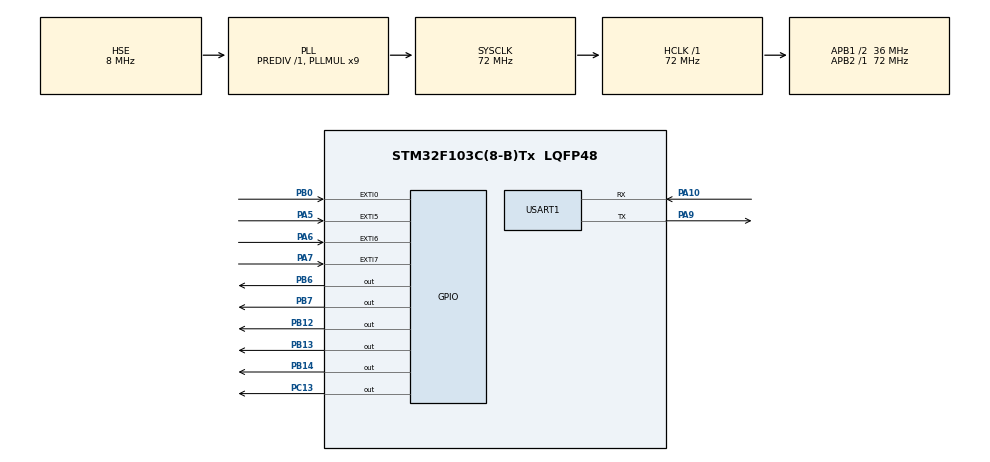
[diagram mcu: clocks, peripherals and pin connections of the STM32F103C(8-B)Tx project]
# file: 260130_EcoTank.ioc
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IWDG.Prescaler=IWDG_PRESCALER_128
IWDG.Reload=2500
Mcu.Family=STM32F1
Mcu.Name=STM32F103C(8-B)Tx
Mcu.Package=LQFP48
NVIC.EXTI0_IRQn=true\:1\:0\:true\:false\:true\:true\:true\:true
NVIC.EXTI9_5_IRQn=true\:2\:0\:true\:false\:true\:true\:true\:true
NVIC.PriorityGroup=NVIC_PRIORITYGROUP_4
NVIC.USART1_IRQn=true\:0\:0\:false\:false\:true\:true\:true\:true
PA10.Mode=Asynchronous
PA10.Signal=USART1_RX
PA13.Mode=Serial_Wire
PA13.Signal=SYS_JTMS-SWDIO
PA14.Mode=Serial_Wire
PA14.Signal=SYS_JTCK-SWCLK
PA5.GPIO_ModeDefaultEXTI=GPIO_MODE_IT_RISING_FALLING
PA5.GPIO_PuPd=GPIO_PULLUP
PA5.Signal=GPXTI5
PA6.GPIO_ModeDefaultEXTI=GPIO_MODE_IT_RISING_FALLING
PA6.GPIO_PuPd=GPIO_PULLUP
PA6.Signal=GPXTI6
PA7.GPIO_ModeDefaultEXTI=GPIO_MODE_IT_RISING_FALLING
PA7.GPIO_PuPd=GPIO_PULLUP
PA7.Signal=GPXTI7
PA9.Mode=Asynchronous
PA9.Signal=USART1_TX
PB0.GPIO_ModeDefaultEXTI=GPIO_MODE_IT_RISING_FALLING
PB0.GPIO_PuPd=GPIO_PULLUP
PB0.Signal=GPXTI0
PB12.GPIO_PuPd=GPIO_PULLDOWN
PB12.Signal=GPIO_Output
PB13.GPIO_PuPd=GPIO_PULLDOWN
PB13.Signal=GPIO_Output
PB14.GPIO_PuPd=GPIO_PULLDOWN
PB14.Signal=GPIO_Output
PB6.GPIO_ModeDefaultOutputPP=GPIO_MODE_OUTPUT_OD
PB6.GPIO_PuPd=GPIO_NOPULL
PB6.GPIO_Speed=GPIO_SPEED_FREQ_HIGH
PB6.PinState=GPIO_PIN_SET
PB6.Signal=GPIO_Output
PB7.GPIO_ModeDefaultOutputPP=GPIO_MODE_OUTPUT_OD
PB7.GPIO_PuPd=GPIO_NOPULL
PB7.GPIO_Speed=GPIO_SPEED_FREQ_HIGH
PB7.PinState=GPIO_PIN_SET
PB7.Signal=GPIO_Output
PC13-TAMPER-RTC.Signal=GPIO_Output
PC14-OSC32_IN.Mode=LSE-External-Clock-Source
PC14-OSC32_IN.Signal=RCC_OSC32_IN
PC15-OSC32_OUT.Mode=LSE-External-Clock-Source
PC15-OSC32_OUT.Signal=RCC_OSC32_OUT
PD0-OSC_IN.Mode=HSE-External-Clock-Source
PD0-OSC_IN.Signal=RCC_OSC_IN
PD1-OSC_OUT.Mode=HSE-External-Clock-Source
PD1-OSC_OUT.Signal=RCC_OSC_OUT
ProjectManager.HeapSize=0x200
ProjectManager.StackSize=0x400
ProjectManager.TargetToolchain=MDK-ARM V5.32
RCC.AHBFreq_Value=72000000
RCC.APB1CLKDivider=RCC_HCLK_DIV2
RCC.APB1Freq_Value=36000000
RCC.APB1TimFreq_Value=72000000
RCC.APB2Freq_Value=72000000
RCC.APB2TimFreq_Value=72000000
RCC.HCLKFreq_Value=72000000
RCC.PLLMUL=RCC_PLL_MUL9
RCC.PLLSourceVirtual=RCC_PLLSOURCE_HSE
RCC.RTCClockSelection=RCC_RTCCLKSOURCE_LSE
RCC.SYSCLKFreq_VALUE=72000000
RCC.SYSCLKSource=RCC_SYSCLKSOURCE_PLLCLK
RCC.USBFreq_Value=72000000
USART1.VirtualMode=VM_ASYNC
VP_IWDG_VS_IWDG.Mode=IWDG_Activate
VP_RTC_No_RTC_Output.Mode=RTC_OUT_NO
VP_RTC_VS_RTC_Activate.Mode=RTC_Enabled
VP_RTC_VS_RTC_Calendar.Mode=RTC_Calendar
board=custom

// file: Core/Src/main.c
/* USER CODE BEGIN Header */
/**
  ******************************************************************************
  * @file           : main.c
  * @brief          : Main program body
  ******************************************************************************
  * @attention
  *
  * Copyright (c) 2026 STMicroelectronics.
  * All rights reserved.
  *
  * This software is licensed under terms that can be found in the LICENSE file
  * in the root directory of this software component.
  * If no LICENSE file comes with this software, it is provided AS-IS.
  *
  ******************************************************************************
  */
/* USER CODE END Header */
#include "main.h"
#include "iwdg.h"
#include "rtc.h"
#include "usart.h"
#include "gpio.h"

/* USER CODE BEGIN Includes */
#include "string.h"
#include "App_USART_Redirect.h"
#include "App_RTC.h"
#include "App_UART_RX_Handler.h"
#include "App_Blink.h"
#include "App_SHT40.h"
#include "App_SYS.h"
/* USER CODE END Includes */

/* USER CODE BEGIN PV */
SHT40_t sht40;
/* USER CODE END PV */

void SystemClock_Config(void);

int main(void)
{

  /* MCU Configuration--------------------------------------------------------*/

  /* Reset of all peripherals, Initializes the Flash interface and the Systick. */
  HAL_Init();

  /* Configure the system clock */
  SystemClock_Config();

  /* Initialize all configured peripherals */
  MX_GPIO_Init();
  MX_RTC_Init();
  MX_USART1_UART_Init();
  MX_IWDG_Init();
  /* USER CODE BEGIN 2 */
  App_UART_RX_Init();  // 初始化串口接收管理器
  App_SYS_Init();      //初始化SYS
  App_RTC_Init();     // 初始化 RTC 交互逻辑
	App_SHT40_Init(&sht40); // 仅传入设备结构体地址，内部将自动通过软件 I2C 通信  App_SYS_Init();                    // 初始化控制系统
  /* USER CODE END 2 */

  /* Infinite loop */
  while (1)
  {

    /* USER CODE BEGIN 3 */

    // PC13：正常模式亮1s灭3s；报错模式闪烁
    App_Blink_Process();

		// 主业务逻辑 (含三级判断、数据采集、设备驱动)
    App_SYS_Loop(&sht40);

    //同步日期进位
    App_RTC_CheckAndSyncBKP();

		// 命令控制
    if (cmd_ready == 1)
    {
        //回显收到的指令，方便调试
        printf("\r\n\r\nCMD: %s\r\n", rx_line);
        // 1. RTC 模块解析接收到的字符串(rx_line) //
        App_RTC_ParseCommand(rx_line);
				// 2. SHT40 模块解析接收到的字符串(rx_line)//
        App_SHT40_ParseCommand(&sht40, rx_line);
				// 3. 单独拦截 "show" 命令，调用温湿度读取
				if (strncmp(rx_line, "show", 4) == 0)
        {
					App_SHT40_Print(&sht40);
					printf("ALL:%d  LED:%d  PUMP:%d  FAN:%d\r\n\r\n",sys_ctrl.sw_master, sys_ctrl.sw_led, sys_ctrl.sw_pump, sys_ctrl.sw_fan);
				}

        /* [复位] 清空接收缓冲区，准备接收下一条指令 */
        /* 如果不复位，cmd_ready 一直是1，会死循环执行同一条命令 */
        App_UART_RX_Reset();
    }

		//喂狗
		HAL_IWDG_Refresh(&hiwdg);
  }
  /* USER CODE END 3 */
}

void SystemClock_Config(void)
{
  RCC_OscInitTypeDef RCC_OscInitStruct = {0};
  RCC_ClkInitTypeDef RCC_ClkInitStruct = {0};
  RCC_PeriphCLKInitTypeDef PeriphClkInit = {0};

  /** Initializes the RCC Oscillators according to the specified parameters
  * in the RCC_OscInitTypeDef structure.
  */
  RCC_OscInitStruct.OscillatorType = RCC_OSCILLATORTYPE_LSI|RCC_OSCILLATORTYPE_HSE
                              |RCC_OSCILLATORTYPE_LSE;
  RCC_OscInitStruct.HSEState = RCC_HSE_BYPASS;
  RCC_OscInitStruct.HSEPredivValue = RCC_HSE_PREDIV_DIV1;
  RCC_OscInitStruct.LSEState = RCC_LSE_BYPASS;
  RCC_OscInitStruct.HSIState = RCC_HSI_ON;
  RCC_OscInitStruct.LSIState = RCC_LSI_ON;
  RCC_OscInitStruct.PLL.PLLState = RCC_PLL_ON;
  RCC_OscInitStruct.PLL.PLLSource = RCC_PLLSOURCE_HSE;
  RCC_OscInitStruct.PLL.PLLMUL = RCC_PLL_MUL9;
  if (HAL_RCC_OscConfig(&RCC_OscInitStruct) != HAL_OK)
  {
    Error_Handler();
  }

  /** Initializes the CPU, AHB and APB buses clocks
  */
  RCC_ClkInitStruct.ClockType = RCC_CLOCKTYPE_HCLK|RCC_CLOCKTYPE_SYSCLK
                              |RCC_CLOCKTYPE_PCLK1|RCC_CLOCKTYPE_PCLK2;
  RCC_ClkInitStruct.SYSCLKSource = RCC_SYSCLKSOURCE_PLLCLK;
  RCC_ClkInitStruct.AHBCLKDivider = RCC_SYSCLK_DIV1;
  RCC_ClkInitStruct.APB1CLKDivider = RCC_HCLK_DIV2;
  RCC_ClkInitStruct.APB2CLKDivider = RCC_HCLK_DIV1;

  if (HAL_RCC_ClockConfig(&RCC_ClkInitStruct, FLASH_LATENCY_2) != HAL_OK)
  {
    Error_Handler();
  }
  PeriphClkInit.PeriphClockSelection = RCC_PERIPHCLK_RTC;
  PeriphClkInit.RTCClockSelection = RCC_RTCCLKSOURCE_LSE;
  if (HAL_RCCEx_PeriphCLKConfig(&PeriphClkInit) != HAL_OK)
  {
    Error_Handler();
  }
}

void Error_Handler(void)
{
  /* USER CODE BEGIN Error_Handler_Debug */
  /* User can add his own implementation to report the HAL error return state */
  __disable_irq();
  while (1)
  {
      // 1. 翻转 LED (PC13)
      // 直接操作寄存器或调用 HAL (HAL_GPIO_TogglePin 不依赖中断，安全)
      HAL_GPIO_TogglePin(GPIOC, GPIO_PIN_13);

      // 2. 简易软件延时 (因为 SysTick 停了，不能用 HAL_Delay)
      for(int i = 0; i < 500000; i++) {
          __NOP(); // 空指令，防止编译器把循环优化掉
      }
  }
  /* USER CODE END Error_Handler_Debug */
}
